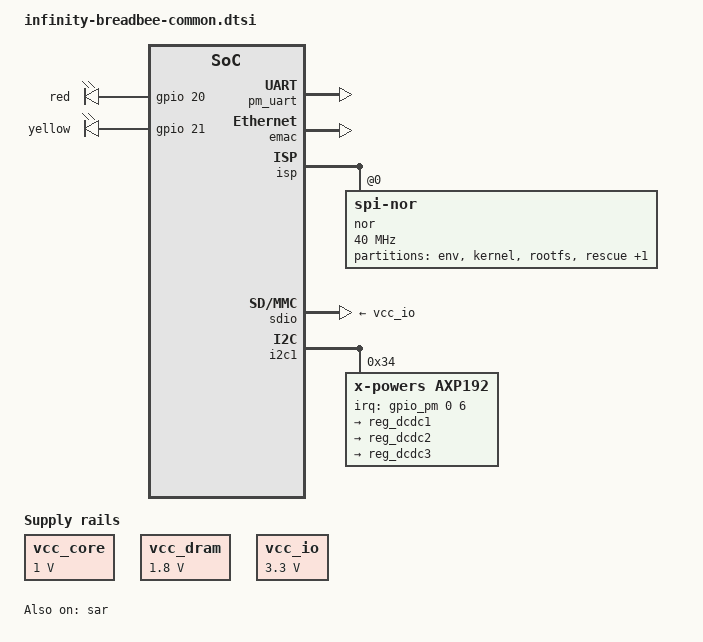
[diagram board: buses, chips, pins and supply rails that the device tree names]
// SPDX-License-Identifier: GPL-2.0
/*
 * Copyright (c) 2019 thingy.jp.
 * Author: Daniel Palmer <daniel@thingy.jp>
 */

/ {
	chosen {
		stdout-path = "serial0:115200n8";
		bootargs = "console=ttyS0,115200 root=/dev/mtdblock3 clk_ignore_unused quiet";
	};

	aliases {
		console = &pm_uart;
		ethernet0 = &emac;
	};

	regulators {
		vcc_core: fixedregulator@0 {
			compatible = "regulator-fixed";
			regulator-name = "vcc_core";
			regulator-min-microvolt = <1000000>;
			regulator-max-microvolt = <1000000>;
			regulator-boot-on;
		};

		vcc_dram: fixedregulator@1 {
			compatible = "regulator-fixed";
			regulator-name = "vcc_dram";
			regulator-min-microvolt = <1800000>;
			regulator-max-microvolt = <1800000>;
			regulator-boot-on;
		};
	
		vcc_io: fixedregulator@2 {
			compatible = "regulator-fixed";
			regulator-name = "vcc_io";
			regulator-min-microvolt = <3300000>;
			regulator-max-microvolt = <3300000>;
			regulator-boot-on;
		};
	};

	leds {
		compatible = "gpio-leds";
		red {
			gpios = <&gpio 20 GPIO_ACTIVE_HIGH>;
			linux,default-trigger = "activity";
		};
		yellow {
			gpios = <&gpio 21 GPIO_ACTIVE_HIGH>;
			linux,default-trigger = "heartbeat";
		};
	};
};

&cpu0 {
	cpu-supply = <&vcc_core>;
};

&pm_uart {
	status = "okay";
};

&emac {
	status = "okay";
};

&isp {
	status = "okay";
	nor: nor@0 {
		#address-cells = <1>;
		#size-cells = <1>;
		compatible = "jedec,spi-nor";
		reg = <0>;
		spi-max-frequency = <40000000>;
		partitions {
			compatible = "fixed-partitions";
			#address-cells = <1>;
			#size-cells = <1>;

			env@2000 {
				label = "env";
				reg = <0x2000 0x2000>;
			};

			kernel@80000{
				label = "kernel";
				reg = <0x80000 0x300000>;
			};

			rootfs@380000 {
				label = "rootfs";
				reg = <0x380000 0x980000>;
			};

			rescue@d00000 {
				label = "rescue";
				reg = <0xd00000 0x2c0000>;
			};

			rw@fc0000 {
				label = "rw";
				reg = <0xfc0000 0x40000>;
			};
		};
	};
};

&sar {
	status = "okay";
};

&sdio {
	vmmc-supply = <&vcc_io>;
	vqmmc-supply = <&vcc_io>;
};

&i2c1 {
	status = "okay";
	axp192: pmic@34 {
		compatible = "x-powers,axp192";
		reg = <0x34>;
		interrupts-extended = <&gpio_pm 0 6 IRQ_TYPE_LEVEL_HIGH>;
		
		interrupt-controller;
		#interrupt-cells = <1>;
		
		regulators {
			/* Default work frequency for buck regulators */
			x-powers,dcdc-freq = <1500>;

			reg_dcdc1: dcdc1 {
				regulator-name = "dcdc1";
			};

			reg_dcdc2: dcdc2 {
				regulator-name = "dcdc2";
			};

			reg_dcdc3: dcdc3 {
				regulator-name = "dcdc3";
			};
		};
	};
};
